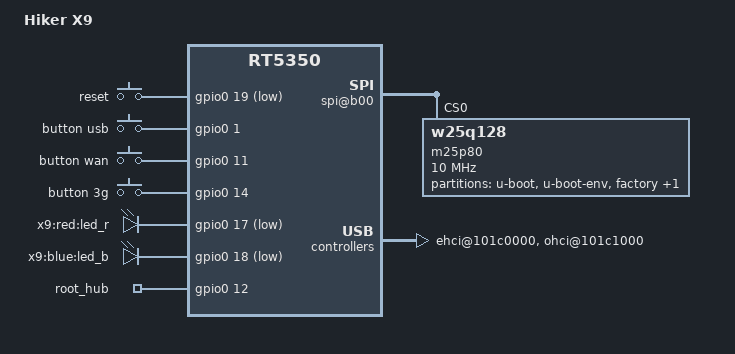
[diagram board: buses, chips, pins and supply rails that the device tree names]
/dts-v1/;

/include/ "rt5350.dtsi"

/ {
	compatible = "X9", "ralink,rt5350-soc";
	model = "Hiker X9";

	palmbus@10000000 {
		spi@b00 {
			status = "okay";

			m25p80@0 {
				#address-cells = <1>;
				#size-cells = <1>;
				#compatible = "mx25l6405d";
				compatible = "w25q128";
				reg = <0 0>;
				linux,modalias = "m25p80", "w25q128";
				spi-max-frequency = <10000000>;

				partition@0 {
					label = "u-boot";
					reg = <0x0 0x30000>;
				};

				partition@30000 {
					label = "u-boot-env";
					reg = <0x30000 0x10000>;
				};

				factory: partition@40000 {
					label = "factory";
					reg = <0x40000 0x10000>;
				};

				partition@50000 {
					label = "firmware";
					reg = <0x50000 0x7b0000>;
				};
			};
		};
	};

	pinctrl {
		state_default: pinctrl0 {
			gpio {
				ralink,group = "i2c", "jtag", "uartf";
				ralink,function = "gpio";
			};
		};
	};

	gpio-keys-polled {
		compatible = "gpio-keys-polled";
		#address-cells = <1>;
		#size-cells = <0>;
		poll-interval = <20>;

		reset {
			label = "reset";
			gpios = <&gpio0 19 1>;
			linux,code = <0x198>;
		};

		usb {
			label = "button usb";
			linux,code = <0x100>;
			gpios = <&gpio0 1 0>;
		};

		wan {
			label = "button wan";
			linux,code = <0x101>;
			gpios = <&gpio0 11 0>;
		};

		3g {
			label = "button 3g";
			linux,code = <0x102>;
			gpios = <&gpio0 14 0>;
		};
	};

	gpio-leds {
		compatible = "gpio-leds";

		led_r {
			label = "x9:red:led_r";
			gpios = <&gpio0 17 1>;
		};

		led_b {
			label = "x9:blue:led_b";
			gpios = <&gpio0 18 1>;
		};
	};

	ethernet@10100000 {
		mtd-mac-address = <&factory 0x4>;
	};

	esw@10110000 {
		mediatek,portmap = <0x2f>;
	};

	wmac@10180000 {
		ralink,led-polarity = <1>;
		ralink,mtd-eeprom = <&factory 0>;
	};

	ehci@101c0000 {
		status = "okay";
	};

	ohci@101c1000 {
		status = "okay";
	};

	gpio_export {
		compatible = "gpio-export";
		#size-cells = <0>;

		root_hub {
			gpio-export,name = "root_hub";
			gpio-export,output = <1>;
			gpios = <&gpio0 12 0>;
		};
	};
};
